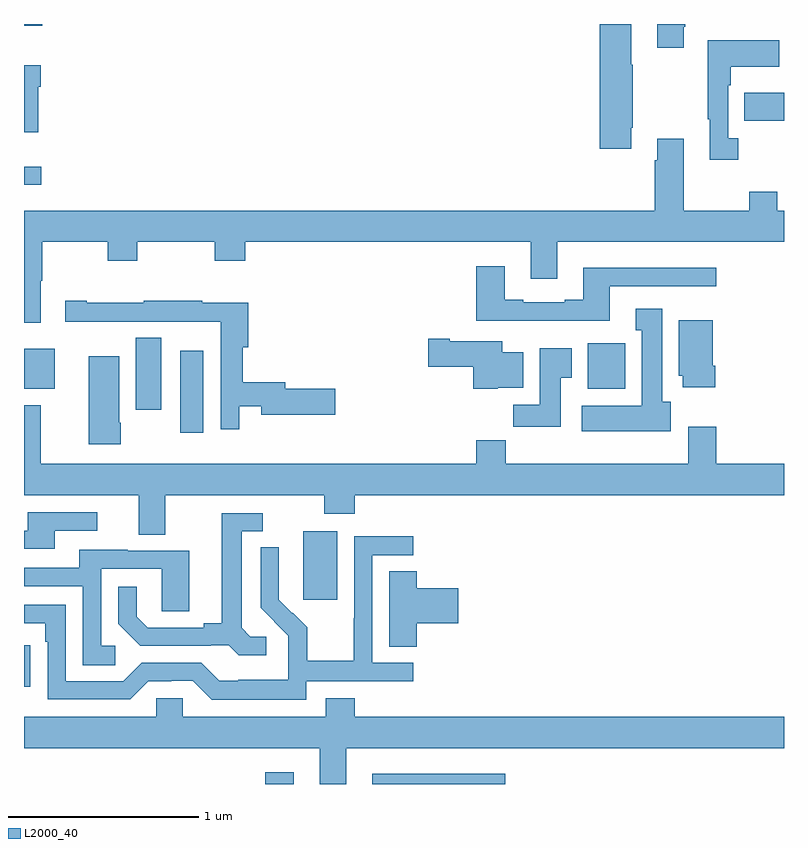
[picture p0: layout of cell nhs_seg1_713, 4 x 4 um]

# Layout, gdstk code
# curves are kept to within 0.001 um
import gdstk
lib = gdstk.Library(unit=1e-6, precision=1e-09)
def R(c, l, rs):  # rectangles x0, y0, x1, y1
    for r in rs: c.add(gdstk.rectangle(r[:2], r[2:], *l))
def P(c, l, *ps):  # polygons
    for p in ps: c.add(gdstk.Polygon(p, *l))
L2000_40 = (2000, 40)

nhs_seg1_713 = lib.new_cell('nhs_seg1_713')
R(nhs_seg1_713, L2000_40, [(150.269,562.199,150.421,562.261), (150.833,562.199,151.534,562.252), (149,562.71,149.033,562.928), (150.47,563.169,150.649,563.53), (149.822,564.048,149.944,564.478), (149.588,564.168,149.722,564.548), (149,564.278,149.161,564.49), (151.967,564.278,152.164,564.52), (149,565.352,149.092,565.449), (152.791,565.69,153,565.837), (149,566.19,149.096,566.199)])
P(nhs_seg1_713, L2000_40, [(152.473,566.185),(152.481,566.185),(152.481,566.199),(152.333,566.199),(152.333,566.073),(152.473,566.073)],
  [(152.197,565.654),(152.205,565.654),(152.205,565.985),(152.197,565.985),(152.197,566.199),(152.03,566.199),(152.03,565.542),(152.197,565.542)],
  [(152.758,565.598),(152.706,565.598),(152.706,565.877),(152.719,565.877),(152.719,565.973),(152.975,565.973),(152.975,566.113),(152.598,566.113),(152.598,565.697),(152.609,565.697),(152.609,565.485),(152.758,565.485)],
  [(149.074,565.868),(149.087,565.868),(149.087,565.981),(149,565.981),(149,565.628),(149.074,565.628)],
  [(149,564.627),(149.089,564.627),(149.089,564.848),(149.097,564.848),(149.097,565.052),(149.44,565.052),(149.44,564.953),(149.595,564.953),(149.595,565.052),(150.004,565.052),(150.004,564.953),(150.164,564.953),(150.164,565.052),(151.667,565.052),(151.667,564.858),(151.807,564.858),(151.807,565.052),(153,565.052),(153,565.216),(152.965,565.216),(152.965,565.315),(152.818,565.315),(152.818,565.216),(152.473,565.216),(152.473,565.594),(152.333,565.594),(152.333,565.481),(152.321,565.481),(152.321,565.216),(149,565.216)],
  [(152.083,564.819),(152.644,564.819),(152.644,564.916),(151.943,564.916),(151.943,564.748),(151.847,564.748),(151.847,564.735),(151.627,564.735),(151.627,564.748),(151.531,564.748),(151.531,564.925),(151.379,564.925),(151.379,564.638),(152.083,564.638)],
  [(150.132,564.186),(150.248,564.186),(150.248,564.143),(150.637,564.143),(150.637,564.278),(150.376,564.278),(150.376,564.314),(150.152,564.314),(150.152,564.497),(150.179,564.497),(150.179,564.732),(149.939,564.732),(149.939,564.742),(149.629,564.742),(149.629,564.732),(149.329,564.732),(149.329,564.742),(149.217,564.742),(149.217,564.632),(149.492,564.632),(149.492,564.633),(149.826,564.633),(149.826,564.632),(150.036,564.632),(150.036,564.066),(150.132,564.066)],
  [(152.404,564.21),(152.359,564.21),(152.359,564.7),(152.219,564.7),(152.219,564.587),(152.252,564.587),(152.252,564.19),(151.935,564.19),(151.935,564.056),(152.404,564.056)],
  [(152.639,564.4),(152.626,564.4),(152.626,564.64),(152.447,564.64),(152.447,564.348),(152.468,564.348),(152.468,564.288),(152.639,564.288)],
  [(151.494,564.284),(151.627,564.284),(151.627,564.472),(151.516,564.472),(151.516,564.529),(151.24,564.529),(151.24,564.542),(151.128,564.542),(151.128,564.395),(151.364,564.395),(151.364,564.278),(151.494,564.278)],
  [(151.825,564.337),(151.882,564.337),(151.882,564.493),(151.715,564.493),(151.715,564.196),(151.576,564.196),(151.576,564.078),(151.825,564.078)],
  [(149.508,564.1),(149.5,564.1),(149.5,564.451),(149.342,564.451),(149.342,563.988),(149.508,563.988)],
  [(149.743,563.72),(150.58,563.72),(150.58,563.621),(150.74,563.621),(150.74,563.72),(153,563.72),(153,563.884),(152.643,563.884),(152.643,564.079),(152.495,564.079),(152.495,563.884),(151.535,563.884),(151.535,564.008),(151.379,564.008),(151.379,563.884),(149.089,563.884),(149.089,564.193),(149,564.193),(149,563.72),(149.603,563.72),(149.603,563.512),(149.743,563.512)],
  [(149.161,563.532),(149.386,563.532),(149.386,563.628),(149.021,563.628),(149.021,563.532),(149,563.532),(149,563.436),(149.161,563.436)],
  [(150.274,562.974),(150.192,562.974),(150.145,563.021),(150.145,563.529),(150.256,563.529),(150.256,563.625),(150.041,563.625),(150.041,563.045),(149.945,563.045),(149.945,563.022),(149.65,563.022),(149.593,563.079),(149.593,563.236),(149.496,563.236),(149.496,563.042),(149.612,562.926),(149.984,562.926),(149.984,562.929),(150.078,562.929),(150.13,562.877),(150.274,562.877)],
  [(150.486,562.74),(151.048,562.74),(151.048,562.836),(150.834,562.836),(150.834,563.403),(151.048,563.403),(151.048,563.502),(150.738,563.502),(150.738,563.072),(150.736,563.072),(150.736,562.849),(150.491,562.849),(150.491,563.023),(150.414,563.1),(150.411,563.097),(150.341,563.168),(150.342,563.444),(150.246,563.444),(150.246,563.126),(150.392,562.978),(150.392,562.881),(150.39,562.881),(150.39,562.747),(150.127,562.747),(150.127,562.743),(150.027,562.743),(149.934,562.836),(149.619,562.836),(149.523,562.74),(149.22,562.74),(149.22,563.142),(149,563.142),(149,563.046),(149.111,563.046),(149.111,562.949),(149.124,562.949),(149.124,562.644),(149.559,562.644),(149.655,562.74),(149.774,562.74),(149.774,562.743),(149.889,562.743),(149.989,562.643),(150.486,562.643)],
  [(149.479,562.926),(149.406,562.926),(149.406,563.331),(149.724,563.331),(149.724,563.107),(149.869,563.107),(149.869,563.427),(149.545,563.427),(149.545,563.431),(149.291,563.431),(149.291,563.337),(149,563.337),(149,563.241),(149.31,563.241),(149.31,562.825),(149.479,562.825)],
  [(151.067,563.045),(151.285,563.045),(151.285,563.228),(151.067,563.228),(151.067,563.318),(150.923,563.318),(150.923,562.921),(151.067,562.921)],
  [(150.697,562.388),(153,562.388),(153,562.552),(150.74,562.552),(150.74,562.651),(150.587,562.651),(150.587,562.552),(149.835,562.552),(149.835,562.65),(149.697,562.65),(149.697,562.552),(149,562.552),(149,562.388),(150.557,562.388),(150.557,562.199),(150.697,562.199)])

lib.write_gds('nhs_seg1_713.gds')
